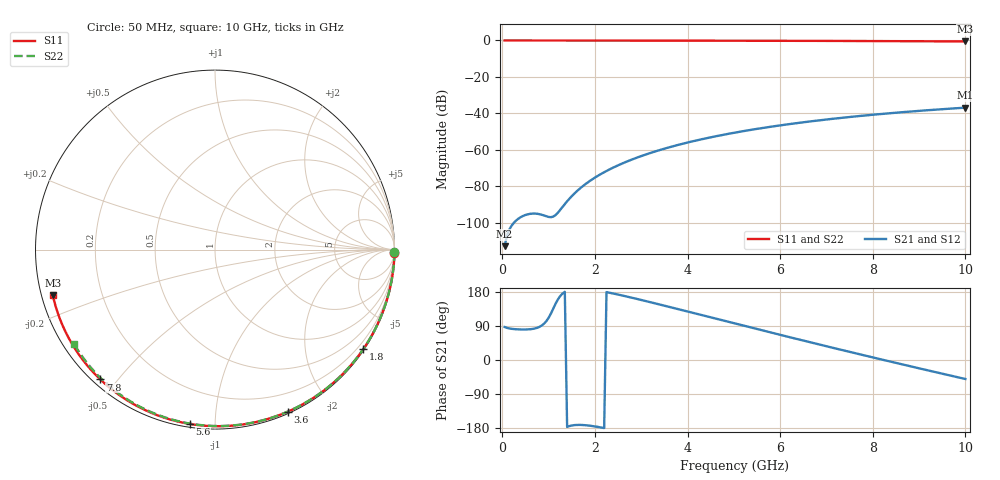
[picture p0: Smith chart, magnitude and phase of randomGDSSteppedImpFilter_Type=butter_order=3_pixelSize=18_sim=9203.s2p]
! freq	dB(S11)	phase(S11)	dB(S12)	phase(S12)
!  dB(S21)	phase(S21)	dB(S22)	phase(S22)
!S-par simulation data
#  GHz  S  DB  R 50
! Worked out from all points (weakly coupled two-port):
!   200 points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, 50 MHz to 10 GHz, reference 50 ohm
!   highest |S21| = -36.86 dB at 10 GHz (marker M1); lowest = -112.8 dB at 50 MHz (marker M2)
!   lowest |S11| = -0.5 dB at 10 GHz (marker M3), VSWR 31.63, Z = 1.61 - j6.86 ohm
!   |S11| at or under -10 dB: nowhere
!   |S22| runs from -0.5 to 0.0 dB; largest |S21 - S12| = 0
!   S11 on the Smith chart (normalised r, x): 50 MHz: open; 1.8 GHz: 0.03, -3.29; 3.6 GHz: 0.02, -1.55; 5.6 GHz: 0.02, -0.87; 7.8 GHz: 0.02, -0.45; 10 GHz: 0.03, -0.14
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0.05  -0.00 -1.0  -112.82 87.1  -112.82 87.1  -0.00 -0.9
0.45  -0.01 -8.6  -96.22 80.5  -96.22 80.5  -0.01 -7.6
0.85  -0.02 -16.2  -95.57 90.8  -95.57 90.8  -0.02 -14.4
1.25  -0.03 -23.6  -92.96 168.7  -92.96 168.7  -0.03 -21.0
1.7  -0.04 -32.0  -80.68 -171.3  -80.68 -171.3  -0.04 -28.5
1.75  -0.04 -32.9  -79.66 -171.6  -79.66 -171.6  -0.04 -29.3
1.8  -0.04 -33.8  -78.69 -172.1  -78.69 -172.1  -0.04 -30.1
2.1  -0.05 -39.3  -73.68 -177.3  -73.68 -177.3  -0.04 -35.0
2.3  -0.05 -42.9  -70.92 177.9  -70.92 177.9  -0.05 -38.2
2.5  -0.06 -46.5  -68.48 172.7  -68.48 172.7  -0.05 -41.4
2.9  -0.07 -53.6  -64.33 161.4  -64.33 161.4  -0.06 -47.8
3.4  -0.08 -62.3  -60.10 146.4  -60.10 146.4  -0.07 -55.6
3.6  -0.09 -65.7  -58.63 140.3  -58.63 140.3  -0.08 -58.7
4.3  -0.11 -77.4  -54.21 118.7  -54.21 118.7  -0.10 -69.3
5.05  -0.14 -89.6  -50.42 95.5  -50.42 95.5  -0.12 -80.3
5.6  -0.16 -98.3  -48.08 78.6  -48.08 78.6  -0.15 -88.1
6.15  -0.19 -106.8  -46.04 61.8  -46.04 61.8  -0.17 -95.7
6.7  -0.22 -115.1  -44.24 45.3  -44.24 45.3  -0.20 -103.2
7.8  -0.31 -131.5  -41.22 12.7  -41.22 12.7  -0.28 -117.8
8.35  -0.36 -139.6  -39.95 -3.3  -39.95 -3.3  -0.32 -124.9
9.2  -0.45 -152.2  -38.23 -27.7  -38.23 -27.7  -0.40 -135.9
10  -0.55 -164.4  -36.86 -50.2  -36.86 -50.2  -0.49 -146.1
